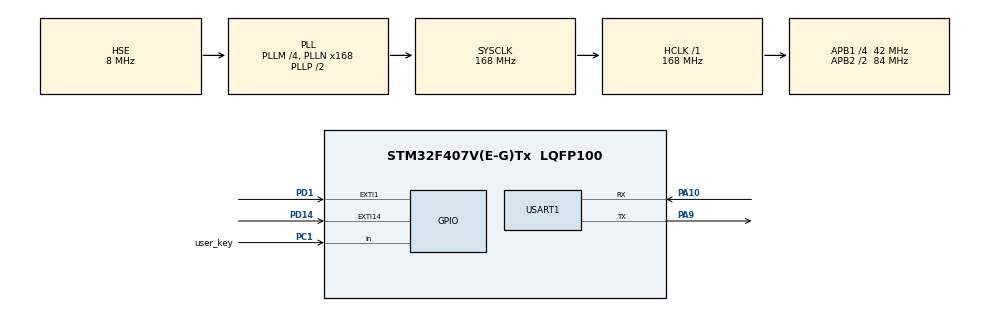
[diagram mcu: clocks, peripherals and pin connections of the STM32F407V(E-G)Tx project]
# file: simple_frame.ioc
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Dma.Request0=USART1_RX
Dma.Request1=USART1_TX
Dma.USART1_RX.0.Direction=DMA_PERIPH_TO_MEMORY
Dma.USART1_RX.0.FIFOMode=DMA_FIFOMODE_DISABLE
Dma.USART1_RX.0.Instance=DMA2_Stream2
Dma.USART1_RX.0.MemDataAlignment=DMA_MDATAALIGN_BYTE
Dma.USART1_RX.0.MemInc=DMA_MINC_ENABLE
Dma.USART1_RX.0.Mode=DMA_CIRCULAR
Dma.USART1_RX.0.PeriphDataAlignment=DMA_PDATAALIGN_BYTE
Dma.USART1_RX.0.PeriphInc=DMA_PINC_DISABLE
Dma.USART1_RX.0.Priority=DMA_PRIORITY_LOW
Dma.USART1_TX.1.Direction=DMA_MEMORY_TO_PERIPH
Dma.USART1_TX.1.FIFOMode=DMA_FIFOMODE_DISABLE
Dma.USART1_TX.1.Instance=DMA2_Stream7
Dma.USART1_TX.1.MemDataAlignment=DMA_MDATAALIGN_BYTE
Dma.USART1_TX.1.MemInc=DMA_MINC_ENABLE
Dma.USART1_TX.1.Mode=DMA_NORMAL
Dma.USART1_TX.1.PeriphDataAlignment=DMA_PDATAALIGN_BYTE
Dma.USART1_TX.1.PeriphInc=DMA_PINC_DISABLE
Dma.USART1_TX.1.Priority=DMA_PRIORITY_LOW
Mcu.Family=STM32F4
Mcu.Name=STM32F407V(E-G)Tx
Mcu.Package=LQFP100
NVIC.DMA2_Stream2_IRQn=true\:0\:0\:false\:false\:true\:false\:true\:true
NVIC.DMA2_Stream7_IRQn=true\:0\:0\:false\:false\:true\:false\:true\:true
NVIC.EXTI15_10_IRQn=true\:0\:0\:false\:false\:true\:true\:true\:true
NVIC.EXTI1_IRQn=true\:0\:0\:false\:false\:true\:true\:true\:true
NVIC.PriorityGroup=NVIC_PRIORITYGROUP_4
NVIC.TIM6_DAC_IRQn=true\:0\:0\:false\:false\:true\:true\:true\:true
NVIC.TIM7_IRQn=true\:0\:0\:false\:false\:true\:true\:true\:true
NVIC.USART1_IRQn=true\:0\:0\:false\:false\:true\:true\:true\:true
PA10.Mode=Asynchronous
PA10.Signal=USART1_RX
PA13.Mode=Serial_Wire
PA13.Signal=SYS_JTMS-SWDIO
PA14.Mode=Serial_Wire
PA14.Signal=SYS_JTCK-SWCLK
PA9.Mode=Asynchronous
PA9.Signal=USART1_TX
PC1.GPIO_Label=user_key
PC1.GPIO_PuPd=GPIO_PULLUP
PC1.Signal=GPIO_Input
PC14-OSC32_IN.Mode=LSE-External-Oscillator
PC14-OSC32_IN.Signal=RCC_OSC32_IN
PC15-OSC32_OUT.Mode=LSE-External-Oscillator
PC15-OSC32_OUT.Signal=RCC_OSC32_OUT
PD1.Signal=GPXTI1
PD14.Signal=GPXTI14
PH0-OSC_IN.Mode=HSE-External-Oscillator
PH0-OSC_IN.Signal=RCC_OSC_IN
PH1-OSC_OUT.Mode=HSE-External-Oscillator
PH1-OSC_OUT.Signal=RCC_OSC_OUT
ProjectManager.HeapSize=0x200
ProjectManager.StackSize=0x400
ProjectManager.TargetToolchain=STM32CubeIDE
RCC.48MHZClocksFreq_Value=84000000
RCC.AHBFreq_Value=168000000
RCC.APB1CLKDivider=RCC_HCLK_DIV4
RCC.APB1Freq_Value=42000000
RCC.APB1TimFreq_Value=84000000
RCC.APB2CLKDivider=RCC_HCLK_DIV2
RCC.APB2Freq_Value=84000000
RCC.APB2TimFreq_Value=168000000
RCC.CortexFreq_Value=168000000
RCC.HCLKFreq_Value=168000000
RCC.HSE_VALUE=8000000
RCC.HSI_VALUE=16000000
RCC.PLLM=4
RCC.PLLN=168
RCC.PLLSourceVirtual=RCC_PLLSOURCE_HSE
RCC.SYSCLKFreq_VALUE=168000000
RCC.SYSCLKSource=RCC_SYSCLKSOURCE_PLLCLK
RCC.VCOOutputFreq_Value=336000000
TIM6.Period=10000-1
TIM6.Prescaler=8400-1
TIM7.Period=1000-1
TIM7.Prescaler=84-1
USART1.VirtualMode=VM_ASYNC
VP_TIM6_VS_ClockSourceINT.Mode=Enable_Timer
VP_TIM7_VS_ClockSourceINT.Mode=Enable_Timer
board=custom

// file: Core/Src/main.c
/* USER CODE BEGIN Header */
/**
  ******************************************************************************
  * @file           : main.c
  * @brief          : Main program body
  ******************************************************************************
  * @attention
  *
  * Copyright (c) 2025 STMicroelectronics.
  * All rights reserved.
  *
  * This software is licensed under terms that can be found in the LICENSE file
  * in the root directory of this software component.
  * If no LICENSE file comes with this software, it is provided AS-IS.
  *
  ******************************************************************************
  */
/* USER CODE END Header */
#include "main.h"
#include "dma.h"
#include "tim.h"
#include "usart.h"
#include "gpio.h"

/* USER CODE BEGIN Includes */
#include "stdio.h"
#include "entry.h"
#include "string.h"
#include "sf_protocol.h"
#include "sf_err.h"

/* USER CODE END Includes */

/* USER CODE BEGIN PM */
#ifdef __GNUC__
#define PUTCHAR_PROTOTYPE int __io_putchar(int ch)
#else
#define PUTCHAR_PROTOTYPE int fputc(int ch, FILE *f)
#endif

PUTCHAR_PROTOTYPE
{
    HAL_UART_Transmit(&huart1, (uint8_t *)&ch, 1 , 0xffff);
    return ch;
}
/* USER CODE END PM */

void SystemClock_Config(void);

int main(void)
{

  /* MCU Configuration--------------------------------------------------------*/

  /* Reset of all peripherals, Initializes the Flash interface and the Systick. */
  HAL_Init();

  /* Configure the system clock */
  SystemClock_Config();

  /* Initialize all configured peripherals */
  MX_GPIO_Init();
  MX_DMA_Init();
  MX_USART1_UART_Init();
  MX_TIM6_Init();
  MX_TIM7_Init();
  /* USER CODE BEGIN 2 */

  sf_entry();
  /* USER CODE END 2 */

  /* Infinite loop */
  while (1)
  {

    /* USER CODE BEGIN 3 */
	  sf_loop();
  }
  /* USER CODE END 3 */
}

void SystemClock_Config(void)
{
  RCC_OscInitTypeDef RCC_OscInitStruct = {0};
  RCC_ClkInitTypeDef RCC_ClkInitStruct = {0};

  /** Configure the main internal regulator output voltage
  */
  __HAL_RCC_PWR_CLK_ENABLE();
  __HAL_PWR_VOLTAGESCALING_CONFIG(PWR_REGULATOR_VOLTAGE_SCALE1);

  /** Initializes the RCC Oscillators according to the specified parameters
  * in the RCC_OscInitTypeDef structure.
  */
  RCC_OscInitStruct.OscillatorType = RCC_OSCILLATORTYPE_HSE;
  RCC_OscInitStruct.HSEState = RCC_HSE_ON;
  RCC_OscInitStruct.PLL.PLLState = RCC_PLL_ON;
  RCC_OscInitStruct.PLL.PLLSource = RCC_PLLSOURCE_HSE;
  RCC_OscInitStruct.PLL.PLLM = 4;
  RCC_OscInitStruct.PLL.PLLN = 168;
  RCC_OscInitStruct.PLL.PLLP = RCC_PLLP_DIV2;
  RCC_OscInitStruct.PLL.PLLQ = 4;
  if (HAL_RCC_OscConfig(&RCC_OscInitStruct) != HAL_OK)
  {
    Error_Handler();
  }

  /** Initializes the CPU, AHB and APB buses clocks
  */
  RCC_ClkInitStruct.ClockType = RCC_CLOCKTYPE_HCLK|RCC_CLOCKTYPE_SYSCLK
                              |RCC_CLOCKTYPE_PCLK1|RCC_CLOCKTYPE_PCLK2;
  RCC_ClkInitStruct.SYSCLKSource = RCC_SYSCLKSOURCE_PLLCLK;
  RCC_ClkInitStruct.AHBCLKDivider = RCC_SYSCLK_DIV1;
  RCC_ClkInitStruct.APB1CLKDivider = RCC_HCLK_DIV4;
  RCC_ClkInitStruct.APB2CLKDivider = RCC_HCLK_DIV2;

  if (HAL_RCC_ClockConfig(&RCC_ClkInitStruct, FLASH_LATENCY_5) != HAL_OK)
  {
    Error_Handler();
  }
}

void Error_Handler(void)
{
  __disable_irq();
  while (1)
  {
  }
}
